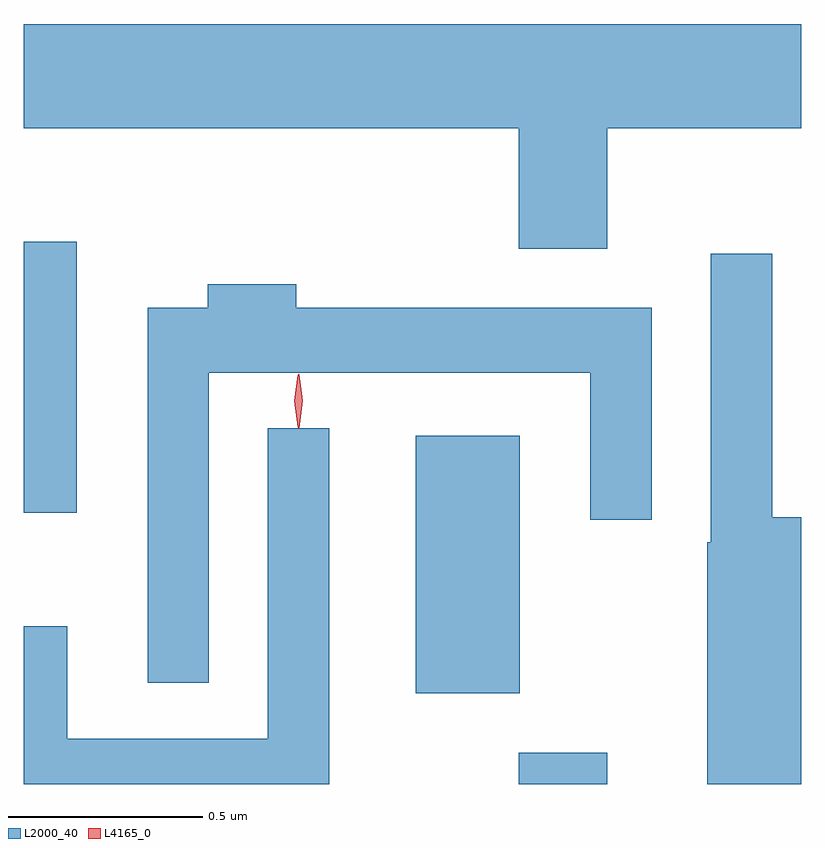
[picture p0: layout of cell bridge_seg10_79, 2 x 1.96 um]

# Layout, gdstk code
import gdstk
lib = gdstk.Library(unit=1e-6, precision=1e-09)
def R(c, l, rs):  # rectangles x0, y0, x1, y1
    for r in rs: c.add(gdstk.rectangle(r[:2], r[2:], *l))
def P(c, l, *ps):  # polygons
    for p in ps: c.add(gdstk.Polygon(p, *l))
L2000_40 = (2000, 40)
L4165_0 = (4165, 0)

bridge_seg10_79 = lib.new_cell('bridge_seg10_79')
R(bridge_seg10_79, L2000_40, [(1591.181,2163.288,1591.409,2163.369), (1590.916,2163.521,1591.184,2164.184), (1589.908,2163.986,1590.044,2164.684)])
P(bridge_seg10_79, L2000_40, [(1591.409,2164.976),(1591.908,2164.976),(1591.908,2165.244),(1589.908,2165.244),(1589.908,2164.976),(1591.181,2164.976),(1591.181,2164.666),(1591.409,2164.666)],
  [(1591.908,2163.974),(1591.834,2163.974),(1591.834,2164.653),(1591.676,2164.653),(1591.676,2163.91),(1591.666,2163.91),(1591.666,2163.288),(1591.908,2163.288)],
  [(1590.384,2164.346),(1591.366,2164.346),(1591.366,2163.968),(1591.524,2163.968),(1591.524,2164.514),(1590.609,2164.514),(1590.609,2164.574),(1590.381,2164.574),(1590.381,2164.514),(1590.226,2164.514),(1590.226,2163.548),(1590.384,2163.548)],
  [(1590.694,2164.203),(1590.536,2164.203),(1590.536,2163.404),(1590.019,2163.404),(1590.019,2163.694),(1589.908,2163.694),(1589.908,2163.288),(1590.694,2163.288)])
P(bridge_seg10_79, L4165_0, [(1590.614,2164.204),(1590.605,2164.274),(1590.614,2164.343),(1590.615,2164.343),(1590.616,2164.343),(1590.625,2164.274),(1590.616,2164.204),(1590.615,2164.204)],
  [(1590.613,2164.207),(1590.604,2164.274),(1590.613,2164.34),(1590.614,2164.341),(1590.614,2164.34),(1590.624,2164.274),(1590.614,2164.207),(1590.614,2164.207)])

lib.write_gds('bridge_seg10_79.gds')
